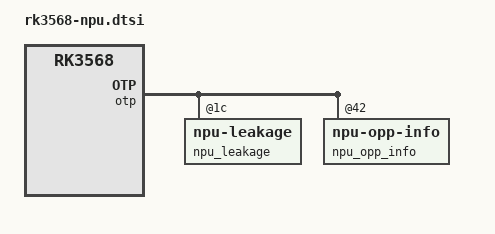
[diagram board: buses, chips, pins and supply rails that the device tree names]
/*
 * Copyright (c) 2021 Rockchip Electronics Co., Ltd.
 * Copyright (c) 2025 jjm2473 <jjm2473@gmail.com>
 */

&otp {
	npu_leakage: npu-leakage@1c {
		reg = <0x1c 0x1>;
	};
	npu_opp_info: npu-opp-info@42 {
		reg = <0x42 0x6>;
	};
};

&power {
	// vcc-supply = <&vdd_npu>;
	// These power domains are grouped by VD_NPU
	power-domain@RK3568_PD_NPU {
		reg = <RK3568_PD_NPU>;
		clocks = <&cru ACLK_NPU_PRE>,
				<&cru HCLK_NPU_PRE>,
				<&cru PCLK_NPU_PRE>;
		pm_qos = <&qos_npu>;
		#power-domain-cells = <0>;
	};
};

/ {

	rknpu: npu@fde40000 {
		compatible = "rockchip,rk3568-rknpu", "rockchip,rknpu";
		reg = <0x0 0xfde40000 0x0 0x10000>;
		interrupts = <GIC_SPI 151 IRQ_TYPE_LEVEL_HIGH>;
		clocks = <&scmi_clk 2>, <&cru CLK_NPU>, <&cru ACLK_NPU>, <&cru HCLK_NPU>;
		clock-names = "scmi_clk", "clk", "aclk", "hclk";
		assigned-clocks = <&cru CLK_NPU>;
		assigned-clock-rates = <600000000>;
		resets = <&cru SRST_A_NPU>, <&cru SRST_H_NPU>;
		reset-names = "srst_a", "srst_h";
		power-domains = <&power RK3568_PD_NPU>;
		operating-points-v2 = <&npu_opp_table>;
		iommus = <&rknpu_mmu>;
		status = "disabled";
	};

	npu_opp_table: npu-opp-table {
		compatible = "operating-points-v2";

		mbist-vmin = <825000 900000 950000>;
		nvmem-cells = <&npu_leakage>, <&core_pvtm>, <&mbist_vmin>, <&npu_opp_info>,
			      <&specification_serial_number>, <&remark_spec_serial_number>;
		nvmem-cell-names = "leakage", "pvtm", "mbist-vmin", "opp-info",
				   "specification_serial_number", "remark_spec_serial_number";
		rockchip,supported-hw;
		rockchip,max-volt = <1000000>;
		rockchip,temp-hysteresis = <5000>;
		rockchip,low-temp = <0>;
		rockchip,low-temp-adjust-volt = <
			/* MHz    MHz    uV */
			   0      1000    50000
		>;
		rockchip,pvtm-voltage-sel = <
			0        84000   0
			84001    87000   1
			87001    91000   2
			91001    100000  3
		>;
		rockchip,pvtm-ch = <0 5>;
		rockchip,init-freq = <900000>;

		/* RK3568 && RK3568M npu OPPs */
		opp-200000000 {
			opp-supported-hw = <0xfb 0xffff>;
			opp-hz = /bits/ 64 <200000000>;
			opp-microvolt = <850000 850000 1000000>;
		};
		opp-300000000 {
			opp-supported-hw = <0xfb 0xffff>;
			opp-hz = /bits/ 64 <297000000>;
			opp-microvolt = <850000 850000 1000000>;
		};
		opp-400000000 {
			opp-supported-hw = <0xfb 0xffff>;
			opp-hz = /bits/ 64 <400000000>;
			opp-microvolt = <850000 850000 1000000>;
		};
		opp-600000000 {
			opp-supported-hw = <0xfb 0xffff>;
			opp-hz = /bits/ 64 <600000000>;
			opp-microvolt = <850000 850000 1000000>;
		};
		opp-700000000 {
			opp-supported-hw = <0xfb 0xffff>;
			opp-hz = /bits/ 64 <700000000>;
			opp-microvolt = <875000 875000 1000000>;
			opp-microvolt-L0 = <875000 875000 1000000>;
			opp-microvolt-L1 = <850000 850000 1000000>;
			opp-microvolt-L2 = <850000 850000 1000000>;
			opp-microvolt-L3 = <850000 850000 1000000>;
		};
		opp-800000000 {
			opp-supported-hw = <0xfb 0xffff>;
			opp-hz = /bits/ 64 <800000000>;
			opp-microvolt = <925000 925000 1000000>;
			opp-microvolt-L0 = <925000 925000 1000000>;
			opp-microvolt-L1 = <900000 900000 1000000>;
			opp-microvolt-L2 = <875000 875000 1000000>;
			opp-microvolt-L3 = <875000 875000 1000000>;
		};
		opp-900000000 {
			opp-supported-hw = <0xf9 0xffff>;
			opp-hz = /bits/ 64 <900000000>;
			opp-microvolt = <975000 975000 1000000>;
			opp-microvolt-L0 = <975000 975000 1000000>;
			opp-microvolt-L1 = <950000 950000 1000000>;
			opp-microvolt-L2 = <925000 925000 1000000>;
			opp-microvolt-L3 = <900000 900000 1000000>;
		};
		opp-1000000000 {
			opp-supported-hw = <0xf9 0xffff>;
			opp-hz = /bits/ 64 <1000000000>;
			opp-microvolt = <1000000 1000000 1000000>;
			opp-microvolt-L0 = <1000000 1000000 1000000>;
			opp-microvolt-L1 = <975000 975000 1000000>;
			opp-microvolt-L2 = <950000 950000 1000000>;
			opp-microvolt-L3 = <925000 925000 1000000>;
			status = "disabled";
		};
	};

	bus_npu: bus-npu {
		compatible = "rockchip,rk3568-bus";
		rockchip,busfreq-policy = "clkfreq";
		clocks = <&scmi_clk 2>;
		clock-names = "bus";
		operating-points-v2 = <&bus_npu_opp_table>;
		status = "disabled";
	};

	bus_npu_opp_table: bus-npu-opp-table {
		compatible = "operating-points-v2";
		opp-shared;

		nvmem-cells = <&core_pvtm>;
		nvmem-cell-names = "pvtm";
		rockchip,pvtm-voltage-sel = <
			0        84000   0
			84001    91000   1
			91001    100000  2
		>;
		rockchip,pvtm-ch = <0 5>;

		opp-700000000 {
			opp-hz = /bits/ 64 <700000000>;
			opp-microvolt = <900000>;
			opp-microvolt-L0 = <900000>;
			opp-microvolt-L1 = <875000>;
			opp-microvolt-L2 = <875000>;
		};
		opp-900000000 {
			opp-hz = /bits/ 64 <900000000>;
			opp-microvolt = <900000>;
		};
		opp-1000000000 {
			opp-hz = /bits/ 64 <1000000000>;
			opp-microvolt = <950000>;
			opp-microvolt-L0 = <950000>;
			opp-microvolt-L1 = <925000>;
			opp-microvolt-L2 = <900000>;
		};
	};

	rknpu_mmu: iommu@fde4b000 {
		compatible = "rockchip,rk3568-iommu", "rockchip,iommu-v2";
		reg = <0x0 0xfde4b000 0x0 0x40>;
		interrupts = <GIC_SPI 151 IRQ_TYPE_LEVEL_HIGH>;
		interrupt-names = "rknpu_mmu";
		clocks = <&cru ACLK_NPU>, <&cru HCLK_NPU>;
		clock-names = "aclk", "iface";
		power-domains = <&power RK3568_PD_NPU>;
		#iommu-cells = <0>;
		status = "disabled";
	};

};
